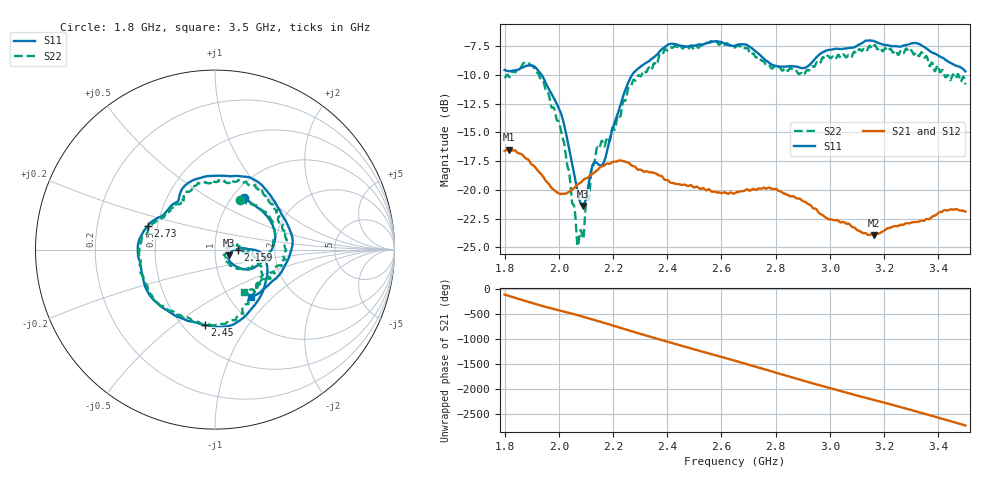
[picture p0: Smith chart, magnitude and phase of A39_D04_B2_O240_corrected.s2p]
! Created with skrf 1.9.0 (http://scikit-rf.org).
# Hz S RI R 50.0
!freq ReS11 ImS11 ReS21 ImS21 ReS12 ImS12 ReS22 ImS22
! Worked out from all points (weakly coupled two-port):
!   1601 points, 1.8 GHz to 3.5 GHz, reference 50 ohm
!   highest |S21| = -16.51 dB at 1.815 GHz (marker M1); lowest = -23.9 dB at 3.162 GHz (marker M2)
!   lowest |S11| = -21.4 dB at 2.089 GHz (marker M3), VSWR 1.19, Z = 58.5 - j3.64 ohm
!   |S11| at or under -10 dB: 1.936 GHz to 2.27 GHz (333.8 MHz wide, 15.9 % of centre)
!   |S22| runs from -24.9 to -7.1 dB; largest |S21 - S12| = 0.0024
!   S11 on the Smith chart (normalised r, x): 1.8 GHz: 1.14, +0.74; 2.159 GHz: 1.29, +0.00; 2.45 GHz: 0.64, -0.65; 2.73 GHz: 0.44, +0.14; 3.5 GHz: 1.25, -0.74
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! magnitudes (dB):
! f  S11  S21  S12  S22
! 1.8 GHz  -9.6  -16.6  -16.6  -10.3
! 1.815 GHz  -9.7  -16.5  -16.5  -10.1
! 1.883 GHz  -9.2  -17.3  -17.3  -9.0
! 1.942 GHz  -10.2  -18.8  -18.8  -10.5
! 2.011 GHz  -13.6  -20.3  -20.3  -15.3
! 2.068 GHz  -20.0  -19.6  -19.6  -24.6
! 2.084 GHz  -21.3  -19.3  -19.3  -23.7
! 2.089 GHz  -21.4  -19.2  -19.2  -24.3
! 2.127 GHz  -17.7  -18.6  -18.5  -17.9
! 2.159 GHz  -17.9  -17.9  -17.9  -15.7
! 2.189 GHz  -15.5  -17.7  -17.7  -15.7
! 2.263 GHz  -10.3  -17.7  -17.8  -11.0
! 2.367 GHz  -8.1  -18.7  -18.7  -8.6
! 2.45 GHz  -7.5  -19.6  -19.5  -7.5
! 2.65 GHz  -7.5  -20.3  -20.3  -7.6
! 2.73 GHz  -8.0  -20.0  -20.0  -8.5
! 2.803 GHz  -9.2  -19.9  -20.0  -9.4
! 2.934 GHz  -8.9  -21.5  -21.4  -9.2
! 3.162 GHz  -7.0  -23.9  -23.9  -7.5
! 3.217 GHz  -7.4  -23.3  -23.3  -7.8
! 3.325 GHz  -7.3  -22.8  -22.7  -8.2
! 3.5 GHz  -9.7  -21.9  -21.9  -10.8
